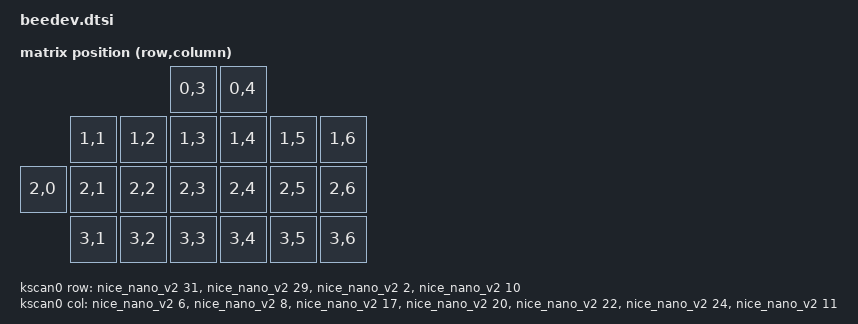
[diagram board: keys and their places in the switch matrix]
#include <dt-bindings/zmk/matrix_transform.h>

/ {
    chosen {
        zmk,kscan = &kscan0;
        zmk,matrix-transform = &default_transform;
    };

    kscan0: kscan {
        compatible = "zmk,kscan-gpio-matrix";
        diode-direction = "col2row";

        row-gpios = <&nice_nano_v2 31 (GPIO_PULL_DOWN)>,
                    <&nice_nano_v2 29 (GPIO_PULL_DOWN)>,
                    <&nice_nano_v2 2 (GPIO_PULL_DOWN)>,
                    <&nice_nano_v2 10 (GPIO_PULL_DOWN)>;

        col-gpios = <&nice_nano_v2 6 (GPIO_ACTIVE_HIGH)>,
                    <&nice_nano_v2 8 (GPIO_ACTIVE_HIGH)>,
                    <&nice_nano_v2 17 (GPIO_ACTIVE_HIGH)>,
                    <&nice_nano_v2 20 (GPIO_ACTIVE_HIGH)>,
                    <&nice_nano_v2 22 (GPIO_ACTIVE_HIGH)>,
                    <&nice_nano_v2 24 (GPIO_ACTIVE_HIGH)>,
                    <&nice_nano_v2 11 (GPIO_ACTIVE_HIGH)>;
    };

    default_transform: matrix_transform{
        compatible = "zmk,matrix-transform|";
        rows = <4>;
        columns = <7>;

        map = <
            NO_NODE NO_NODE NO_NODE RC(0,3) RC(0,4) NO_NODE NO_NODE 
            NO_NODE RC(1,1) RC(1,2) RC(1,3) RC(1,4) RC(1,5) RC(1,6)
            RC(2,0) RC(2,1) RC(2,2) RC(2,3) RC(2,4) RC(2,5) RC(2,6)
            NO_NODE RC(3,1) RC(3,2) RC(3,3) RC(3,4) RC(3,5) RC(3,6) 
        >;
    };
};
